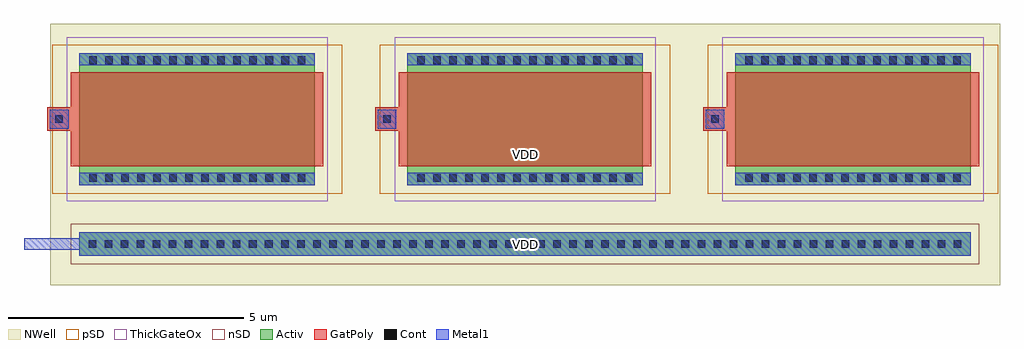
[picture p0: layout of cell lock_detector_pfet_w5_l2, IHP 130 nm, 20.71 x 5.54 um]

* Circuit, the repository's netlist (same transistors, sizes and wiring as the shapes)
* extracted by klt extract --deck sg13cmos5l

* cell lock_detector_pfet_w5_l2
* pin VDD
.SUBCKT lock_detector_pfet_w5_l2 VDD
* device instance $1 r0 *1 3.8,3.86 pfet
X$1 \$8 \$2 \$3 VDD sg13_hv_pmos L=2U W=5U AS=2P AD=2P PS=10.8U PD=10.8U
* device instance $2 r0 *1 10.76,3.86 pfet
X$2 \$9 \$4 \$5 VDD sg13_hv_pmos L=2U W=5U AS=2P AD=2P PS=10.8U PD=10.8U
* device instance $3 r0 *1 17.72,3.86 pfet
X$3 \$10 \$6 \$7 VDD sg13_hv_pmos L=2U W=5U AS=2P AD=2P PS=10.8U PD=10.8U
.ENDS lock_detector_pfet_w5_l2

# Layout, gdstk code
import gdstk
lib = gdstk.Library(unit=1e-6, precision=1e-09)
def R(c, l, rs):  # rectangles x0, y0, x1, y1
    for r in rs: c.add(gdstk.rectangle(r[:2], r[2:], *l))
def A(c, l, x, y, w, h, nx, ny, dx, dy):  # array of equal rectangles
    R(c, l, [(x+i*dx, y+j*dy, x+i*dx+w, y+j*dy+h) for i in range(nx) for j in range(ny)])
Activ = (1, 0)
GatPoly = (5, 0)
Cont = (6, 0)
nSD = (7, 0)
Metal1 = (8, 0)
pSD = (14, 0)
NWell = (31, 0)
ThickGateOx = (44, 0)

lock_detector_pfet_w5_l2 = lib.new_cell('lock_detector_pfet_w5_l2')
A(lock_detector_pfet_w5_l2, Activ, 1.3, 2.46, 5, 2.8, 3, 1, 6.96, 0)
R(lock_detector_pfet_w5_l2, Activ, [(1.3,0.96,20.22,1.46)])
A(lock_detector_pfet_w5_l2, GatPoly, 1.12, 2.86, 5.36, 2, 3, 1, 6.96, 0)
A(lock_detector_pfet_w5_l2, GatPoly, 0.62, 3.61, 0.5, 0.5, 3, 1, 6.96, 0)
A(lock_detector_pfet_w5_l2, Cont, 1.5, 1.13, 0.16, 0.16, 55, 1, 0.34, 0)
A(lock_detector_pfet_w5_l2, Cont, 1.51, 2.53, 0.16, 0.16, 14, 2, 0.34, 2.5)
A(lock_detector_pfet_w5_l2, Cont, 8.47, 2.53, 0.16, 0.16, 14, 2, 0.34, 2.5)
A(lock_detector_pfet_w5_l2, Cont, 15.43, 2.53, 0.16, 0.16, 14, 2, 0.34, 2.5)
A(lock_detector_pfet_w5_l2, Cont, 0.79, 3.78, 0.16, 0.16, 3, 1, 6.96, 0)
R(lock_detector_pfet_w5_l2, nSD, [(1.12,0.78,20.4,1.64)])
A(lock_detector_pfet_w5_l2, Metal1, 1.3, 2.46, 5, 0.26, 3, 2, 6.96, 2.54)
A(lock_detector_pfet_w5_l2, Metal1, 0.67, 3.66, 0.4, 0.4, 3, 1, 6.96, 0)
R(lock_detector_pfet_w5_l2, Metal1, [(1.3,0.96,20.22,1.46), (0.125,1.085,1.3,1.335)])
A(lock_detector_pfet_w5_l2, pSD, 0.72, 2.28, 6.16, 3.16, 3, 1, 6.96, 0)
R(lock_detector_pfet_w5_l2, NWell, [(0.68,0.34,20.84,5.88)])
A(lock_detector_pfet_w5_l2, ThickGateOx, 1.03, 2.12, 5.54, 3.48, 3, 1, 6.96, 0)
lock_detector_pfet_w5_l2.add(gdstk.Label('VDD', (10.76,1.21), layer=8, texttype=2))
lock_detector_pfet_w5_l2.add(gdstk.Label('VDD', (10.76,3.11), layer=31, texttype=2))

lib.write_gds('lock_detector_pfet_w5_l2.gds')
